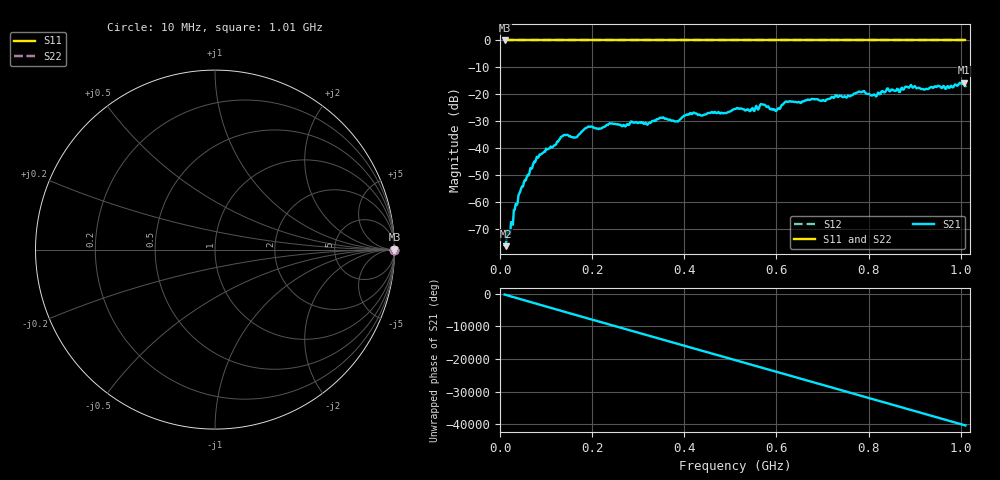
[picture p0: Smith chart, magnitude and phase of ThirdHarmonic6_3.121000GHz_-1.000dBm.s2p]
! 8/17/2025 9:15:52 AM
! C:\ANRITSUVNA\TEMP\TEMP.S2P
! CHANNEL.1
! TR.MEASUREMENT
! RAW.DATA
! RF.CORRECTION.OFF
! AVERAGING.OFF
! IF.BANDWIDTH: 5KHZ
! SWEEPTYPE:  FREQ.SWEEP(Linear)
! Reference Plane Port Info
! PORT:  PORT1  PORT2
! DISTANCE:  0  m  0  m
! TIME:  0  s  0  s
! PHASE.OFFSET:  0  deg.  0  deg.
! LOSS:  0  dB  0  dB
! REF.LOSS:  0  dB  0  dB
! REF.FREQ:  0  Hz  0  Hz
! Power Info
! POWER:  -20  dBm  -20  dBm
! EFF.POWER:  -20  dBm  -20  dBm
! SOURCE.ATTEN:  0  dB  0  dB
! TEST.ATTEN:  0  dB  0  dB
# GHZ S RI R 50.0
! FREQ.GHZ  S11RE  S11IM  S21RE  S21IM  S12RE  S12IM  S22RE  S22IM
!; PortSelection: Port_12
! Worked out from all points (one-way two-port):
!   501 points, 10 MHz to 1.01 GHz, reference 50 ohm
!   highest |S21| = -15.71 dB at 1.006 GHz (marker M1); lowest = -76.5 dB at 12 MHz (marker M2)
!   lowest |S11| = 0.0 dB at 10 MHz (marker M3)
!   |S11| at or under -10 dB: nowhere
!   |S22| runs from 0.0 to 0.0 dB; largest |S21 - S12| = 1.1
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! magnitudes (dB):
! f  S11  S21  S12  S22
! 10 MHz  0.0  -76.2  0.0  0.0
! 12 MHz  0.0  -76.5  0.0  0.0
! 24 MHz  0.0  -67.6  0.0  0.0
! 44 MHz  0.0  -56.1  0.0  0.0
! 76 MHz  0.0  -45.3  0.0  0.0
! 136 MHz  0.0  -35.6  0.0  0.0
! 164 MHz  0.0  -36.1  0.0  0.0
! 178 MHz  0.0  -33.8  0.0  0.0
! 344 MHz  0.0  -29.2  0.0  0.0
! 384 MHz  0.0  -30.1  0.0  0.0
! 416 MHz  0.0  -27.4  0.0  0.0
! 510 MHz  0.0  -25.5  0.0  0.0
! 548 MHz  0.0  -25.1  0.0  0.0
! 570 MHz  0.0  -23.8  0.0  0.0
! 596 MHz  0.0  -25.7  0.0  0.0
! 622 MHz  0.0  -22.7  0.0  0.0
! 678 MHz  0.0  -21.8  0.0  0.0
! 786 MHz  0.0  -19.1  0.0  0.0
! 814 MHz  0.0  -20.4  0.0  0.0
! 844 MHz  0.0  -18.6  0.0  0.0
! 1.006 GHz  0.0  -15.7  0.0  0.0
! 1.01 GHz  0.0  -17.0  0.0  0.0
